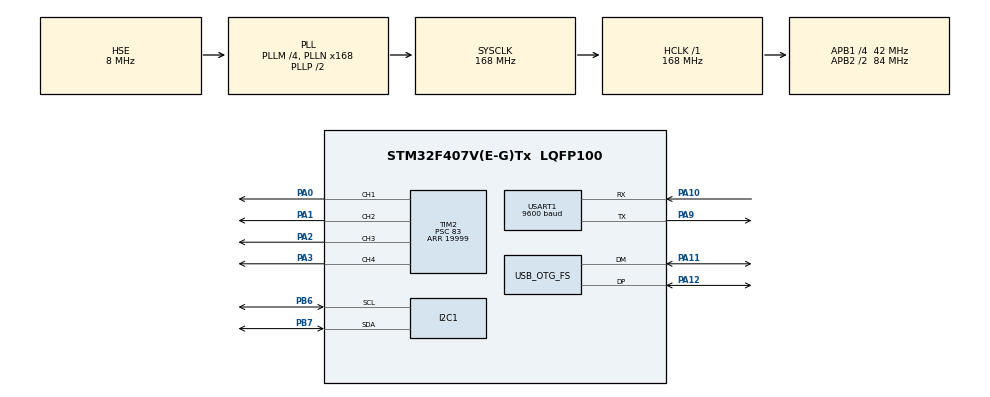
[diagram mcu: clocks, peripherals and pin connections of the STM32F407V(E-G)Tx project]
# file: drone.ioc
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I2C1.I2C_Mode=I2C_Fast
Mcu.Family=STM32F4
Mcu.Name=STM32F407V(E-G)Tx
Mcu.Package=LQFP100
NVIC.PriorityGroup=NVIC_PRIORITYGROUP_4
NVIC.TIM1_UP_TIM10_IRQn=true\:0\:0\:false\:false\:true\:true\:true\:true
NVIC.USART1_IRQn=true\:0\:0\:false\:false\:true\:true\:true\:true
PA0-WKUP.Signal=S_TIM2_CH1_ETR
PA1.Signal=S_TIM2_CH2
PA10.Mode=Asynchronous
PA10.Signal=USART1_RX
PA11.Mode=Device_Only
PA11.Signal=USB_OTG_FS_DM
PA12.Mode=Device_Only
PA12.Signal=USB_OTG_FS_DP
PA13.Mode=Serial_Wire
PA13.Signal=SYS_JTMS-SWDIO
PA14.Mode=Serial_Wire
PA14.Signal=SYS_JTCK-SWCLK
PA2.Signal=S_TIM2_CH3
PA3.Signal=S_TIM2_CH4
PA9.Mode=Asynchronous
PA9.Signal=USART1_TX
PB6.Mode=I2C
PB6.Signal=I2C1_SCL
PB7.Mode=I2C
PB7.Signal=I2C1_SDA
PH0-OSC_IN.Mode=HSE-External-Oscillator
PH0-OSC_IN.Signal=RCC_OSC_IN
PH1-OSC_OUT.Mode=HSE-External-Oscillator
PH1-OSC_OUT.Signal=RCC_OSC_OUT
ProjectManager.HeapSize=0x200
ProjectManager.StackSize=0x400
ProjectManager.TargetToolchain=STM32CubeIDE
RCC.48MHZClocksFreq_Value=48000000
RCC.AHBFreq_Value=168000000
RCC.APB1CLKDivider=RCC_HCLK_DIV4
RCC.APB1Freq_Value=42000000
RCC.APB1TimFreq_Value=84000000
RCC.APB2CLKDivider=RCC_HCLK_DIV2
RCC.APB2Freq_Value=84000000
RCC.APB2TimFreq_Value=168000000
RCC.CortexFreq_Value=168000000
RCC.HCLKFreq_Value=168000000
RCC.HSE_VALUE=8000000
RCC.HSI_VALUE=16000000
RCC.LSE_VALUE=32768
RCC.PLLM=4
RCC.PLLN=168
RCC.PLLQ=7
RCC.SYSCLKFreq_VALUE=168000000
RCC.SYSCLKSource=RCC_SYSCLKSOURCE_PLLCLK
RCC.VCOOutputFreq_Value=336000000
SH.S_TIM2_CH1_ETR.0=TIM2_CH1,PWM Generation1 CH1
SH.S_TIM2_CH2.0=TIM2_CH2,PWM Generation2 CH2
SH.S_TIM2_CH3.0=TIM2_CH3,PWM Generation3 CH3
SH.S_TIM2_CH4.0=TIM2_CH4,PWM Generation4 CH4
TIM1.Period=4999
TIM1.Prescaler=167
TIM2.Channel-PWM\ Generation1\ CH1=TIM_CHANNEL_1
TIM2.Channel-PWM\ Generation2\ CH2=TIM_CHANNEL_2
TIM2.Channel-PWM\ Generation3\ CH3=TIM_CHANNEL_3
TIM2.Channel-PWM\ Generation4\ CH4=TIM_CHANNEL_4
TIM2.Period=19999
TIM2.Prescaler=83
USART1.BaudRate=9600
USART1.VirtualMode=VM_ASYNC
USB_OTG_FS.VirtualMode=Device_Only
VP_TIM1_VS_ClockSourceINT.Mode=Internal
board=custom

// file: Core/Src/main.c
/* USER CODE BEGIN Header */
/**
  ******************************************************************************
  * @file           : main.c
  * @brief          : Main program body
  ******************************************************************************
  * @attention
  *
  * Copyright (c) 2026 STMicroelectronics.
  * All rights reserved.
  *
  * This software is licensed under terms that can be found in the LICENSE file
  * in the root directory of this software component.
  * If no LICENSE file comes with this software, it is provided AS-IS.
  *
  ******************************************************************************
  */
/* USER CODE END Header */
#include "main.h"

/* USER CODE BEGIN Includes */
#include "MPU.h"
#include <stdio.h>
/* USER CODE END Includes */

I2C_HandleTypeDef hi2c1;

TIM_HandleTypeDef htim1;
TIM_HandleTypeDef htim2;

UART_HandleTypeDef huart1;

PCD_HandleTypeDef hpcd_USB_OTG_FS;

/* USER CODE BEGIN PV */
uint8_t rx_data;           // Biến chứa 1 ký tự nhận được từ Bluetooth
uint8_t is_armed = 0;      // 0 = Khóa động cơ (1000us), 1 = Mở động cơ (Cho phép quay)
uint32_t last_bt_time = 0; // Lưu thời gian nhận tín hiệu cuối cùng (chống mất sóng)
// Thêm biến này để chứa dữ liệu MPU6050
MPU6050_Raw mpu_data;
/* USER CODE END PV */

void SystemClock_Config(void);
static void MX_GPIO_Init(void);
static void MX_I2C1_Init(void);
static void MX_TIM1_Init(void);
static void MX_TIM2_Init(void);
static void MX_USART1_UART_Init(void);
static void MX_USB_OTG_FS_PCD_Init(void);

int main(void)
{

  /* MCU Configuration--------------------------------------------------------*/

  /* Reset of all peripherals, Initializes the Flash interface and the Systick. */
  HAL_Init();

  /* Configure the system clock */
  SystemClock_Config();

  /* Initialize all configured peripherals */
  MX_GPIO_Init();
  MX_I2C1_Init();
  MX_TIM1_Init();
  MX_TIM2_Init();
  MX_USART1_UART_Init();
  MX_USB_OTG_FS_PCD_Init();
  /* USER CODE BEGIN 2 */
  // 1. Kích hoạt bộ phát PWM trên cả 4 kênh của TIM2

    HAL_TIM_PWM_Start(&htim2, TIM_CHANNEL_1);
    HAL_TIM_PWM_Start(&htim2, TIM_CHANNEL_2);
    HAL_TIM_PWM_Start(&htim2, TIM_CHANNEL_3);
    HAL_TIM_PWM_Start(&htim2, TIM_CHANNEL_4);

    HAL_UART_Receive_IT(&huart1, &rx_data, 1);

    // 2. Kích hoạt cảm biến MPU6050 (SAFE FROM CUBEMX HERE!)
      MPU6050_Init();
  /* USER CODE END 2 */

  /* Infinite loop */
  /* USER CODE BEGIN WHILE */
  while (1)
  {
	  // 1. Read the raw data from the sensor into your container
	        MPU6050_Read_Data(&mpu_data);

	        // 2. Process that raw data into usable angles (Roll/Pitch)
	        MPU6050_Process_Angle(&mpu_data);

	        // 3. Print the RAW integer data to the IDE console
	        printf("Raw X: %d | Raw Y: %d | Raw Z: %d\r\n", mpu_data.Accel_X_RAW, mpu_data.Accel_Y_RAW, mpu_data.Accel_Z_RAW);
	      // --- LOGIC ĐIỀU KHIỂN ĐỘNG CƠ ---
	  if(is_armed == 1)
	  {
	          // Sau này chỗ này bạn sẽ bỏ hàm PID vào đây
	      __HAL_TIM_SET_COMPARE(&htim2, TIM_CHANNEL_1, 1130);
	      __HAL_TIM_SET_COMPARE(&htim2, TIM_CHANNEL_2, 1130);
	      __HAL_TIM_SET_COMPARE(&htim2, TIM_CHANNEL_3, 1130);
	      __HAL_TIM_SET_COMPARE(&htim2, TIM_CHANNEL_4, 1130);
	   }
	   else
	   {
	          // TRẠNG THÁI KHÓA (DISARM): Ép tất cả về 1000us (Tắt motor)
	       __HAL_TIM_SET_COMPARE(&htim2, TIM_CHANNEL_1, 1000);
	       __HAL_TIM_SET_COMPARE(&htim2, TIM_CHANNEL_2, 1000);
	       __HAL_TIM_SET_COMPARE(&htim2, TIM_CHANNEL_3, 1000);
	       __HAL_TIM_SET_COMPARE(&htim2, TIM_CHANNEL_4, 1000);
	   }
	   HAL_Delay(10);
    /* USER CODE END WHILE */

  }
}

void SystemClock_Config(void)
{
  RCC_OscInitTypeDef RCC_OscInitStruct = {0};
  RCC_ClkInitTypeDef RCC_ClkInitStruct = {0};

  /** Configure the main internal regulator output voltage
  */
  __HAL_RCC_PWR_CLK_ENABLE();
  __HAL_PWR_VOLTAGESCALING_CONFIG(PWR_REGULATOR_VOLTAGE_SCALE1);

  /** Initializes the RCC Oscillators according to the specified parameters
  * in the RCC_OscInitTypeDef structure.
  */
  RCC_OscInitStruct.OscillatorType = RCC_OSCILLATORTYPE_HSE;
  RCC_OscInitStruct.HSEState = RCC_HSE_ON;
  RCC_OscInitStruct.PLL.PLLState = RCC_PLL_ON;
  RCC_OscInitStruct.PLL.PLLSource = RCC_PLLSOURCE_HSE;
  RCC_OscInitStruct.PLL.PLLM = 4;
  RCC_OscInitStruct.PLL.PLLN = 168;
  RCC_OscInitStruct.PLL.PLLP = RCC_PLLP_DIV2;
  RCC_OscInitStruct.PLL.PLLQ = 7;
  if (HAL_RCC_OscConfig(&RCC_OscInitStruct) != HAL_OK)
  {
    Error_Handler();
  }

  /** Initializes the CPU, AHB and APB buses clocks
  */
  RCC_ClkInitStruct.ClockType = RCC_CLOCKTYPE_HCLK|RCC_CLOCKTYPE_SYSCLK
                              |RCC_CLOCKTYPE_PCLK1|RCC_CLOCKTYPE_PCLK2;
  RCC_ClkInitStruct.SYSCLKSource = RCC_SYSCLKSOURCE_PLLCLK;
  RCC_ClkInitStruct.AHBCLKDivider = RCC_SYSCLK_DIV1;
  RCC_ClkInitStruct.APB1CLKDivider = RCC_HCLK_DIV4;
  RCC_ClkInitStruct.APB2CLKDivider = RCC_HCLK_DIV2;

  if (HAL_RCC_ClockConfig(&RCC_ClkInitStruct, FLASH_LATENCY_5) != HAL_OK)
  {
    Error_Handler();
  }
}

static void MX_I2C1_Init(void)
{

  hi2c1.Instance = I2C1;
  hi2c1.Init.ClockSpeed = 400000;
  hi2c1.Init.DutyCycle = I2C_DUTYCYCLE_2;
  hi2c1.Init.OwnAddress1 = 0;
  hi2c1.Init.AddressingMode = I2C_ADDRESSINGMODE_7BIT;
  hi2c1.Init.DualAddressMode = I2C_DUALADDRESS_DISABLE;
  hi2c1.Init.OwnAddress2 = 0;
  hi2c1.Init.GeneralCallMode = I2C_GENERALCALL_DISABLE;
  hi2c1.Init.NoStretchMode = I2C_NOSTRETCH_DISABLE;
  if (HAL_I2C_Init(&hi2c1) != HAL_OK)
  {
    Error_Handler();
  }

}

static void MX_TIM1_Init(void)
{

  TIM_ClockConfigTypeDef sClockSourceConfig = {0};
  TIM_MasterConfigTypeDef sMasterConfig = {0};

  htim1.Instance = TIM1;
  htim1.Init.Prescaler = 167;
  htim1.Init.CounterMode = TIM_COUNTERMODE_UP;
  htim1.Init.Period = 4999;
  htim1.Init.ClockDivision = TIM_CLOCKDIVISION_DIV1;
  htim1.Init.RepetitionCounter = 0;
  htim1.Init.AutoReloadPreload = TIM_AUTORELOAD_PRELOAD_DISABLE;
  if (HAL_TIM_Base_Init(&htim1) != HAL_OK)
  {
    Error_Handler();
  }
  sClockSourceConfig.ClockSource = TIM_CLOCKSOURCE_INTERNAL;
  if (HAL_TIM_ConfigClockSource(&htim1, &sClockSourceConfig) != HAL_OK)
  {
    Error_Handler();
  }
  sMasterConfig.MasterOutputTrigger = TIM_TRGO_RESET;
  sMasterConfig.MasterSlaveMode = TIM_MASTERSLAVEMODE_DISABLE;
  if (HAL_TIMEx_MasterConfigSynchronization(&htim1, &sMasterConfig) != HAL_OK)
  {
    Error_Handler();
  }

}

static void MX_TIM2_Init(void)
{

  TIM_MasterConfigTypeDef sMasterConfig = {0};
  TIM_OC_InitTypeDef sConfigOC = {0};

  htim2.Instance = TIM2;
  htim2.Init.Prescaler = 83;
  htim2.Init.CounterMode = TIM_COUNTERMODE_UP;
  htim2.Init.Period = 19999;
  htim2.Init.ClockDivision = TIM_CLOCKDIVISION_DIV1;
  htim2.Init.AutoReloadPreload = TIM_AUTORELOAD_PRELOAD_DISABLE;
  if (HAL_TIM_PWM_Init(&htim2) != HAL_OK)
  {
    Error_Handler();
  }
  sMasterConfig.MasterOutputTrigger = TIM_TRGO_RESET;
  sMasterConfig.MasterSlaveMode = TIM_MASTERSLAVEMODE_DISABLE;
  if (HAL_TIMEx_MasterConfigSynchronization(&htim2, &sMasterConfig) != HAL_OK)
  {
    Error_Handler();
  }
  sConfigOC.OCMode = TIM_OCMODE_PWM1;
  sConfigOC.Pulse = 0;
  sConfigOC.OCPolarity = TIM_OCPOLARITY_HIGH;
  sConfigOC.OCFastMode = TIM_OCFAST_DISABLE;
  if (HAL_TIM_PWM_ConfigChannel(&htim2, &sConfigOC, TIM_CHANNEL_1) != HAL_OK)
  {
    Error_Handler();
  }
  if (HAL_TIM_PWM_ConfigChannel(&htim2, &sConfigOC, TIM_CHANNEL_2) != HAL_OK)
  {
    Error_Handler();
  }
  if (HAL_TIM_PWM_ConfigChannel(&htim2, &sConfigOC, TIM_CHANNEL_3) != HAL_OK)
  {
    Error_Handler();
  }
  if (HAL_TIM_PWM_ConfigChannel(&htim2, &sConfigOC, TIM_CHANNEL_4) != HAL_OK)
  {
    Error_Handler();
  }
  HAL_TIM_MspPostInit(&htim2);

}

static void MX_USART1_UART_Init(void)
{

  huart1.Instance = USART1;
  huart1.Init.BaudRate = 9600;
  huart1.Init.WordLength = UART_WORDLENGTH_8B;
  huart1.Init.StopBits = UART_STOPBITS_1;
  huart1.Init.Parity = UART_PARITY_NONE;
  huart1.Init.Mode = UART_MODE_TX_RX;
  huart1.Init.HwFlowCtl = UART_HWCONTROL_NONE;
  huart1.Init.OverSampling = UART_OVERSAMPLING_16;
  if (HAL_UART_Init(&huart1) != HAL_OK)
  {
    Error_Handler();
  }

}

static void MX_USB_OTG_FS_PCD_Init(void)
{

  hpcd_USB_OTG_FS.Instance = USB_OTG_FS;
  hpcd_USB_OTG_FS.Init.dev_endpoints = 4;
  hpcd_USB_OTG_FS.Init.speed = PCD_SPEED_FULL;
  hpcd_USB_OTG_FS.Init.dma_enable = DISABLE;
  hpcd_USB_OTG_FS.Init.phy_itface = PCD_PHY_EMBEDDED;
  hpcd_USB_OTG_FS.Init.Sof_enable = DISABLE;
  hpcd_USB_OTG_FS.Init.low_power_enable = DISABLE;
  hpcd_USB_OTG_FS.Init.lpm_enable = DISABLE;
  hpcd_USB_OTG_FS.Init.vbus_sensing_enable = DISABLE;
  hpcd_USB_OTG_FS.Init.use_dedicated_ep1 = DISABLE;
  if (HAL_PCD_Init(&hpcd_USB_OTG_FS) != HAL_OK)
  {
    Error_Handler();
  }

}

static void MX_GPIO_Init(void)
{

  /* GPIO Ports Clock Enable */
  __HAL_RCC_GPIOH_CLK_ENABLE();
  __HAL_RCC_GPIOA_CLK_ENABLE();
  __HAL_RCC_GPIOB_CLK_ENABLE();

}

/* USER CODE BEGIN 4 */
int _write(int file, char *ptr, int len) {
    for (int i = 0; i < len; i++) {
        ITM_SendChar((*ptr++));
    }
    return len;
}
// Hàm này tự động chạy mỗi khi điện thoại gửi 1 ký tự qua Bluetooth
void HAL_UART_RxCpltCallback(UART_HandleTypeDef *huart)
{
  if(huart->Instance == USART1)
  {
    last_bt_time = HAL_GetTick(); // Cập nhật thời điểm có sóng

    if(rx_data == 'A') // Nhận chữ A (Arm)
    {
      is_armed = 1;
    }
    else if(rx_data == 'D') // Nhận chữ D (Disarm)
    {
      is_armed = 0;
    }

    // Cài đặt lại ngắt để chực chờ nhận ký tự tiếp theo
    HAL_UART_Receive_IT(&huart1, &rx_data, 1);
  }
}
/* USER CODE END 4 */

void Error_Handler(void)
{
  __disable_irq();
  while (1)
  {
  }
}
